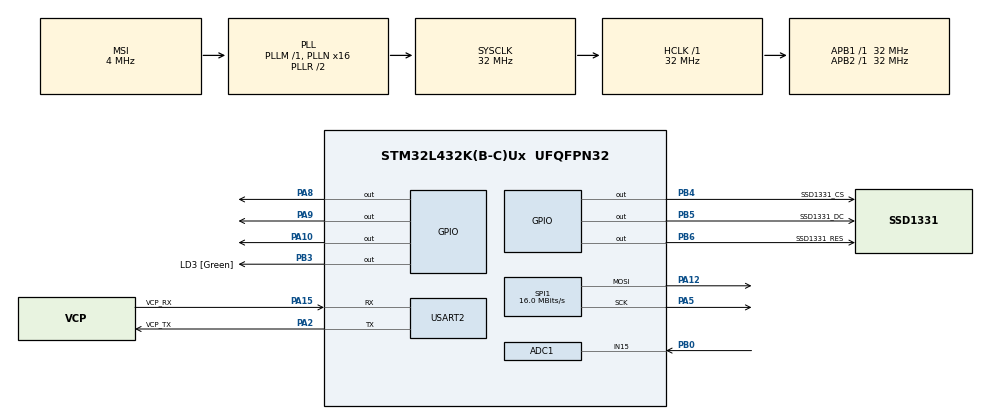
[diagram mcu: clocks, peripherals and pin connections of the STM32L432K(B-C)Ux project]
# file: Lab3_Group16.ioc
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ADC1.Channel-1\#ChannelRegularConversion=ADC_CHANNEL_15
ADC1.NbrOfConversionFlag=1
ADC1.OffsetNumber-1\#ChannelRegularConversion=ADC_OFFSET_NONE
ADC1.Rank-1\#ChannelRegularConversion=1
ADC1.SamplingTime-1\#ChannelRegularConversion=ADC_SAMPLETIME_2CYCLES_5
ADC1.master=1
Mcu.Family=STM32L4
Mcu.Name=STM32L432K(B-C)Ux
Mcu.Package=UFQFPN32
NVIC.PriorityGroup=NVIC_PRIORITYGROUP_4
PA0.Mode=HSE-External-Clock-Source-for-LittleOrca
PA0.Signal=RCC_CK_IN
PA10.Signal=GPIO_Output
PA12.Mode=TX_Only_Simplex_Unidirect_Master
PA12.Signal=SPI1_MOSI
PA13\ (JTMS-SWDIO).GPIO_Label=SWDIO
PA13\ (JTMS-SWDIO).Mode=Serial_Wire
PA13\ (JTMS-SWDIO).Signal=SYS_JTMS-SWDIO
PA14\ (JTCK-SWCLK).GPIO_Label=SWCLK
PA14\ (JTCK-SWCLK).Mode=Serial_Wire
PA14\ (JTCK-SWCLK).Signal=SYS_JTCK-SWCLK
PA15\ (JTDI).GPIO_Label=VCP_RX
PA15\ (JTDI).Mode=Asynchronous
PA15\ (JTDI).Signal=USART2_RX
PA2.GPIO_Label=VCP_TX
PA2.Mode=Asynchronous
PA2.Signal=USART2_TX
PA5.Mode=TX_Only_Simplex_Unidirect_Master
PA5.Signal=SPI1_SCK
PA8.Signal=GPIO_Output
PA9.Signal=GPIO_Output
PB0.Signal=ADCx_IN15
PB3\ (JTDO-TRACESWO).GPIO_Label=LD3 [Green]
PB3\ (JTDO-TRACESWO).Signal=GPIO_Output
PB4\ (NJTRST).GPIO_Label=SSD1331_CS
PB4\ (NJTRST).Signal=GPIO_Output
PB5.GPIO_Label=SSD1331_DC
PB5.Signal=GPIO_Output
PB6.GPIO_Label=SSD1331_RES
PB6.Signal=GPIO_Output
PC14-OSC32_IN\ (PC14).Mode=LSE-External-Oscillator
PC14-OSC32_IN\ (PC14).Signal=RCC_OSC32_IN
PC15-OSC32_OUT\ (PC15).Mode=LSE-External-Oscillator
PC15-OSC32_OUT\ (PC15).Signal=RCC_OSC32_OUT
ProjectManager.HeapSize=0x200
ProjectManager.StackSize=0x400
ProjectManager.TargetToolchain=STM32CubeIDE
RCC.ADCFreq_Value=32000000
RCC.AHBFreq_Value=32000000
RCC.APB1Freq_Value=32000000
RCC.APB1TimFreq_Value=32000000
RCC.APB2Freq_Value=32000000
RCC.APB2TimFreq_Value=32000000
RCC.CortexFreq_Value=32000000
RCC.HCLKFreq_Value=32000000
RCC.HSE_VALUE=8000000
RCC.HSI16_VALUE=16000000
RCC.HSI48_VALUE=48000000
RCC.HSI_VALUE=16000000
RCC.MSI_VALUE=4000000
RCC.PLLMUL=RCC_PLLMUL_4
RCC.PLLN=16
RCC.PLLSAI1N=16
RCC.SYSCLKFreq_VALUE=32000000
RCC.SYSCLKSource=RCC_SYSCLKSOURCE_PLLCLK
RCC.USBFreq_Value=32000000
RCC.VCOOutputFreq_Value=64000000
SH.ADCx_IN15.0=ADC1_IN15,IN15-Single-Ended
SPI1.CalculateBaudRate=16.0 MBits/s
SPI1.DataSize=SPI_DATASIZE_8BIT
SPI1.Direction=SPI_DIRECTION_2LINES
SPI1.Mode=SPI_MODE_MASTER
SPI1.VirtualType=VM_MASTER
USART2.VirtualMode-Asynchronous=VM_ASYNC
board=NUCLEO-L432KC

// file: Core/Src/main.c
/* USER CODE BEGIN Header */
/**
   ******************************************************************************
  * FILE           : main.c
  * PROJECT        : thermistor
  * PROGRAMMERS     :Chalumuri Saikishore
  * FIRST VERSION  : 2021-01-11
  * DESCRIPTION    : Code for embedded system implementing the multi-access-point
  *                  thermometer by using the STM32L432 Nucleo-32 board.This
  *                  multi-access point thermometer can be used in hospitals to
  *                  monitor patients’temperatures from different location.This
  *                  embedded software determines the temperature of patient using
  *                  Mcp9700 thermistor and converted it in to degree Celsius by
  *                  using the voltagetotempconv functionThe temperature values are displayed on
  *                  OLED ssd1331  and putty. The RGB led light indicates different
  *                  colors when the temperature are in different region. When the
  *                  temperature is not in the desired region an appropriate message
  *                  is shown in the putty screen.
  ******************************************************************************
  */
/* USER CODE END Header */
#include "main.h"

/* USER CODE BEGIN Includes */
#include "ssd1331.h"// header file for oled display inbuilt it contins oled functions
#include "fonts.h"
#include<stdio.h>
/* USER CODE END Includes */

ADC_HandleTypeDef hadc1;

SPI_HandleTypeDef hspi1;

UART_HandleTypeDef huart2;

void SystemClock_Config(void);
static void MX_GPIO_Init(void);
static void MX_USART2_UART_Init(void);
static void MX_SPI1_Init(void);
static void MX_ADC1_Init(void);

/* USER CODE BEGIN 0 */
void temploop(float temp );// all the above are function declrations of functions used in the code
float cntToVoltage(void);
float VoltageToTemp(float voltage);
void ledOn(float temp);
			;
/* USER CODE END 0 */

int main(void)
{
  /* USER CODE BEGIN 1 */
float temp;
float voltage;
  /* USER CODE END 1 */

  /* MCU Configuration--------------------------------------------------------*/

  /* Reset of all peripherals, Initializes the Flash interface and the Systick. */
  HAL_Init();

  /* Configure the system clock */
  SystemClock_Config();

  /* Initialize all configured peripherals */
  MX_GPIO_Init();
  MX_USART2_UART_Init();
  MX_SPI1_Init();
  MX_ADC1_Init();
  /* USER CODE BEGIN 2 */
  ssd1331_init();
  /* USER CODE END 2 */

  /* Infinite loop */
  while (1)
  {

    /* USER CODE BEGIN 3 */
	  	  	  HAL_GPIO_WritePin(GPIOA, GPIO_PIN_8, SET);
	    	  	HAL_GPIO_WritePin(GPIOA, GPIO_PIN_9, SET);
    	  	  HAL_GPIO_WritePin(GPIOA, GPIO_PIN_10, SET);
	        voltage = cntToVoltage(); //this is a function which converts into voltage by using thermistor and ON BOARD adc
	        temp = VoltageToTemp(voltage);// this is a function which converts the output voltage of adc into temprature
	        temploop(temp );// this is function to display the particular temprature on the board
	        ledOn(temp);// based on the temprature we need to indicate a particular led so this function turns on an led based on a situation

	        HAL_Delay(3000);

	// ssd1331_display_string(4, 8, " PATIENT ", FONT_1608, GREEN);
	 //ssd1331_display_string(7, 8, "TEMP=", FONT_1608, GREEN);

  }
  /* USER CODE END 3 */
}

void SystemClock_Config(void)
{
  RCC_OscInitTypeDef RCC_OscInitStruct = {0};
  RCC_ClkInitTypeDef RCC_ClkInitStruct = {0};

  /** Configure the main internal regulator output voltage
  */
  if (HAL_PWREx_ControlVoltageScaling(PWR_REGULATOR_VOLTAGE_SCALE1) != HAL_OK)
  {
    Error_Handler();
  }
  /** Configure LSE Drive Capability
  */
  HAL_PWR_EnableBkUpAccess();
  __HAL_RCC_LSEDRIVE_CONFIG(RCC_LSEDRIVE_LOW);
  /** Initializes the RCC Oscillators according to the specified parameters
  * in the RCC_OscInitTypeDef structure.
  */
  RCC_OscInitStruct.OscillatorType = RCC_OSCILLATORTYPE_LSE|RCC_OSCILLATORTYPE_MSI;
  RCC_OscInitStruct.LSEState = RCC_LSE_ON;
  RCC_OscInitStruct.MSIState = RCC_MSI_ON;
  RCC_OscInitStruct.MSICalibrationValue = 0;
  RCC_OscInitStruct.MSIClockRange = RCC_MSIRANGE_6;
  RCC_OscInitStruct.PLL.PLLState = RCC_PLL_ON;
  RCC_OscInitStruct.PLL.PLLSource = RCC_PLLSOURCE_MSI;
  RCC_OscInitStruct.PLL.PLLM = 1;
  RCC_OscInitStruct.PLL.PLLN = 16;
  RCC_OscInitStruct.PLL.PLLP = RCC_PLLP_DIV7;
  RCC_OscInitStruct.PLL.PLLQ = RCC_PLLQ_DIV2;
  RCC_OscInitStruct.PLL.PLLR = RCC_PLLR_DIV2;
  if (HAL_RCC_OscConfig(&RCC_OscInitStruct) != HAL_OK)
  {
    Error_Handler();
  }
  /** Initializes the CPU, AHB and APB buses clocks
  */
  RCC_ClkInitStruct.ClockType = RCC_CLOCKTYPE_HCLK|RCC_CLOCKTYPE_SYSCLK
                              |RCC_CLOCKTYPE_PCLK1|RCC_CLOCKTYPE_PCLK2;
  RCC_ClkInitStruct.SYSCLKSource = RCC_SYSCLKSOURCE_PLLCLK;
  RCC_ClkInitStruct.AHBCLKDivider = RCC_SYSCLK_DIV1;
  RCC_ClkInitStruct.APB1CLKDivider = RCC_HCLK_DIV1;
  RCC_ClkInitStruct.APB2CLKDivider = RCC_HCLK_DIV1;

  if (HAL_RCC_ClockConfig(&RCC_ClkInitStruct, FLASH_LATENCY_1) != HAL_OK)
  {
    Error_Handler();
  }
  /** Enable MSI Auto calibration
  */
  HAL_RCCEx_EnableMSIPLLMode();
}

static void MX_ADC1_Init(void)
{

  ADC_ChannelConfTypeDef sConfig = {0};

  /** Common config
  */
  hadc1.Instance = ADC1;
  hadc1.Init.ClockPrescaler = ADC_CLOCK_ASYNC_DIV1;
  hadc1.Init.Resolution = ADC_RESOLUTION_12B;
  hadc1.Init.DataAlign = ADC_DATAALIGN_RIGHT;
  hadc1.Init.ScanConvMode = ADC_SCAN_DISABLE;
  hadc1.Init.EOCSelection = ADC_EOC_SINGLE_CONV;
  hadc1.Init.LowPowerAutoWait = DISABLE;
  hadc1.Init.ContinuousConvMode = DISABLE;
  hadc1.Init.NbrOfConversion = 1;
  hadc1.Init.DiscontinuousConvMode = DISABLE;
  hadc1.Init.ExternalTrigConv = ADC_SOFTWARE_START;
  hadc1.Init.ExternalTrigConvEdge = ADC_EXTERNALTRIGCONVEDGE_NONE;
  hadc1.Init.DMAContinuousRequests = DISABLE;
  hadc1.Init.Overrun = ADC_OVR_DATA_PRESERVED;
  hadc1.Init.OversamplingMode = DISABLE;
  if (HAL_ADC_Init(&hadc1) != HAL_OK)
  {
    Error_Handler();
  }
  /** Configure Regular Channel
  */
  sConfig.Channel = ADC_CHANNEL_15;
  sConfig.Rank = ADC_REGULAR_RANK_1;
  sConfig.SamplingTime = ADC_SAMPLETIME_2CYCLES_5;
  sConfig.SingleDiff = ADC_SINGLE_ENDED;
  sConfig.OffsetNumber = ADC_OFFSET_NONE;
  sConfig.Offset = 0;
  if (HAL_ADC_ConfigChannel(&hadc1, &sConfig) != HAL_OK)
  {
    Error_Handler();
  }

}

static void MX_SPI1_Init(void)
{

  /* SPI1 parameter configuration*/
  hspi1.Instance = SPI1;
  hspi1.Init.Mode = SPI_MODE_MASTER;
  hspi1.Init.Direction = SPI_DIRECTION_2LINES;
  hspi1.Init.DataSize = SPI_DATASIZE_8BIT;
  hspi1.Init.CLKPolarity = SPI_POLARITY_LOW;
  hspi1.Init.CLKPhase = SPI_PHASE_1EDGE;
  hspi1.Init.NSS = SPI_NSS_SOFT;
  hspi1.Init.BaudRatePrescaler = SPI_BAUDRATEPRESCALER_2;
  hspi1.Init.FirstBit = SPI_FIRSTBIT_MSB;
  hspi1.Init.TIMode = SPI_TIMODE_DISABLE;
  hspi1.Init.CRCCalculation = SPI_CRCCALCULATION_DISABLE;
  hspi1.Init.CRCPolynomial = 7;
  hspi1.Init.CRCLength = SPI_CRC_LENGTH_DATASIZE;
  hspi1.Init.NSSPMode = SPI_NSS_PULSE_ENABLE;
  if (HAL_SPI_Init(&hspi1) != HAL_OK)
  {
    Error_Handler();
  }

}

static void MX_USART2_UART_Init(void)
{

  huart2.Instance = USART2;
  huart2.Init.BaudRate = 115200;
  huart2.Init.WordLength = UART_WORDLENGTH_8B;
  huart2.Init.StopBits = UART_STOPBITS_1;
  huart2.Init.Parity = UART_PARITY_NONE;
  huart2.Init.Mode = UART_MODE_TX_RX;
  huart2.Init.HwFlowCtl = UART_HWCONTROL_NONE;
  huart2.Init.OverSampling = UART_OVERSAMPLING_16;
  huart2.Init.OneBitSampling = UART_ONE_BIT_SAMPLE_DISABLE;
  huart2.AdvancedInit.AdvFeatureInit = UART_ADVFEATURE_NO_INIT;
  if (HAL_UART_Init(&huart2) != HAL_OK)
  {
    Error_Handler();
  }

}

static void MX_GPIO_Init(void)
{
  GPIO_InitTypeDef GPIO_InitStruct = {0};

  /* GPIO Ports Clock Enable */
  __HAL_RCC_GPIOC_CLK_ENABLE();
  __HAL_RCC_GPIOA_CLK_ENABLE();
  __HAL_RCC_GPIOB_CLK_ENABLE();

  /*Configure GPIO pin Output Level */
  HAL_GPIO_WritePin(GPIOA, GPIO_PIN_8|GPIO_PIN_9|GPIO_PIN_10, GPIO_PIN_RESET);

  /*Configure GPIO pin Output Level */
  HAL_GPIO_WritePin(GPIOB, LD3_Pin|SSD1331_CS_Pin|SSD1331_DC_Pin|SSD1331_RES_Pin, GPIO_PIN_RESET);

  /*Configure GPIO pins : PA8 PA9 PA10 */
  GPIO_InitStruct.Pin = GPIO_PIN_8|GPIO_PIN_9|GPIO_PIN_10;
  GPIO_InitStruct.Mode = GPIO_MODE_OUTPUT_PP;
  GPIO_InitStruct.Pull = GPIO_NOPULL;
  GPIO_InitStruct.Speed = GPIO_SPEED_FREQ_LOW;
  HAL_GPIO_Init(GPIOA, &GPIO_InitStruct);

  /*Configure GPIO pins : LD3_Pin SSD1331_CS_Pin SSD1331_DC_Pin SSD1331_RES_Pin */
  GPIO_InitStruct.Pin = LD3_Pin|SSD1331_CS_Pin|SSD1331_DC_Pin|SSD1331_RES_Pin;
  GPIO_InitStruct.Mode = GPIO_MODE_OUTPUT_PP;
  GPIO_InitStruct.Pull = GPIO_NOPULL;
  GPIO_InitStruct.Speed = GPIO_SPEED_FREQ_LOW;
  HAL_GPIO_Init(GPIOB, &GPIO_InitStruct);

}

/* USER CODE BEGIN 4 */
// this is a function which is used to get the voltage from the

float cntToVoltage(void){
	uint32_t adcValue;
	float vDetected ;
	printf(" step 1:Checking Serial Connection \r\n");
	printf("________________________________\r\n");
	HAL_ADC_Start(&hadc1);// this used to enable the adc pheripheral
	HAL_ADC_PollForConversion(&hadc1, HAL_MAX_DELAY);// enable the conversion of adc
	adcValue = HAL_ADC_GetValue(&hadc1);// to get the digital value of adc pheripheral we use this statement
	vDetected =  (3.3*adcValue)/4096;// converting the digital value into voltage
	printf("step 2: Voltage detected is %.2f\r\n",vDetected);
	printf("________________________________\r\n");
	return vDetected;
}
// By using the function convert the voltage to temprature
float VoltageToTemp(float voltage){

	float temp;
	printf("________________________________\r\n");
	printf("step 3:the voltage is  %f\r\n",voltage);
	temp = 100*(voltage-0.5);// formulae to convert voltage to temprature
	printf("step 4:Temperature detected is %.2f\r\n",temp);
	printf("________________________________\r\n");

	return temp;

}
// THIS FUNCTION IS USED TO SWITCH ON LED
void ledOn(float temp){
	// printf("end of %s\r\n",__func__);
	if(temp >= -40 && temp < 20.5)            //Blue  PA10
		HAL_GPIO_WritePin(GPIOA, GPIO_PIN_10, RESET);
	else if (temp >= 20.5 && temp < 37.3)  //Green PA9
		HAL_GPIO_WritePin(GPIOA, GPIO_PIN_9, RESET);
	else if (temp >= 39.5 && temp < 150)  //Red on PA8
		HAL_GPIO_WritePin(GPIOA, GPIO_PIN_8, RESET);
	else if (temp >= 37.3 && temp < 39.5)  //Orange
	{
		HAL_GPIO_WritePin(GPIOA, GPIO_PIN_9, RESET);
		HAL_GPIO_WritePin(GPIOA, GPIO_PIN_8, RESET);
	}

}

void temploop(float temp )// THIS FUNCTION USED TO DISPLAY TEMPRATURE ON TO THE LED SCREEN
{

					                             char stemp[20];//
					                                ssd1331_display_string(2, 8, "WELCOME ", FONT_1608, GREEN);
										 	 	    HAL_Delay(50);
										  	        ssd1331_clear_screen(BLACK ) ;
										 	       ssd1331_display_string(2, 8, "HEAD NURSE  ", FONT_1608, GREEN);
										 		   HAL_Delay(50);
										 		   ssd1331_clear_screen(BLACK ) ;

										           ssd1331_display_string(2, 8, "THE ", FONT_1608, GREEN);
										          HAL_Delay(50);
										          ssd1331_clear_screen(BLACK ) ;
										          ssd1331_display_string(2, 8, "PATIENT ", FONT_1608, GREEN);
										          ssd1331_clear_screen(BLACK ) ;
										          HAL_Delay(50);
										          ssd1331_display_string(2, 8, "TEMPRATURE IS ", FONT_1608, GREEN);
										          ssd1331_clear_screen(BLACK );
										          HAL_Delay(100);
					                              sprintf(stemp,"%.2f",temp);     //Converting float to string and storing it in stemp variable.
					                                ssd1331_display_string(2, 8, stemp , FONT_1608,GREEN);// code to display the stemp on to the screen

		        // ssd1331_display_num(2, 8, temp, 2, FONT_1608,GREEN);
			      // ssd1331_clear_screen(BLACK ) ;

}

/* USER CODE END 4 */

void Error_Handler(void)
{
  __disable_irq();
  while (1)
  {
  }
}

/************************ (C) COPYRIGHT STMicroelectronics *****END OF FILE****/
